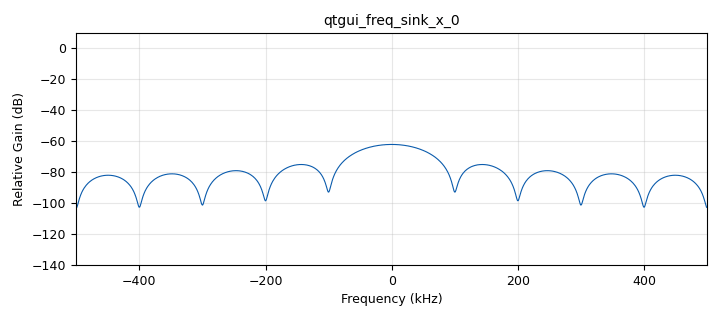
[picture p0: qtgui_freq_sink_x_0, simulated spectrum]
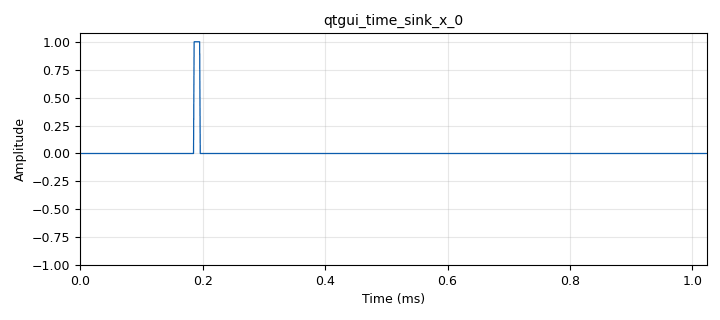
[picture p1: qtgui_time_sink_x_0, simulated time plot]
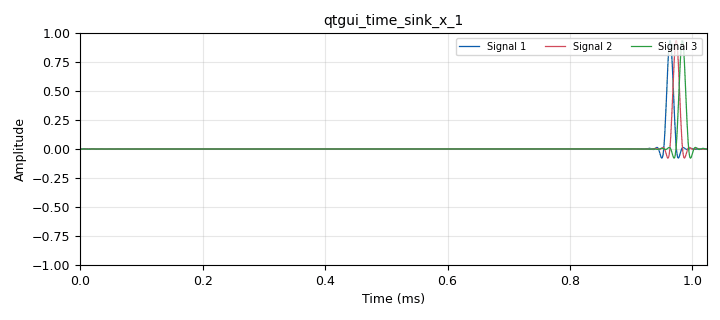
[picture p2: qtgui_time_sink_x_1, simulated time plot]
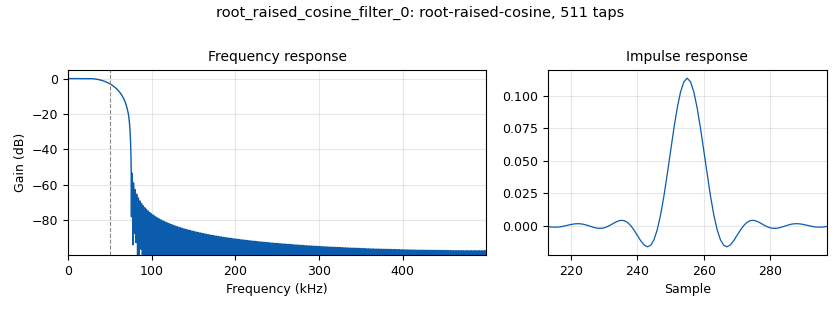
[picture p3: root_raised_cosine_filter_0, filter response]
options:
  parameters:
    generate_options: qt_gui
    id: untitled
    output_language: python
    title: Not titled yet
  states: {}

blocks:
- name: samp_rate
  id: variable
  parameters:
    value: '1000000'
  states: {}
- name: sps
  id: variable
  parameters:
    value: '10'
  states: {}
- name: taps
  id: variable
  parameters:
    value: '511'
  states: {}
- name: blocks_delay_0
  id: blocks_delay
  parameters:
    delay: '506'
    type: float
  states: {}
- name: blocks_delay_1
  id: blocks_delay
  parameters:
    delay: '20'
    type: float
  states: {}
- name: blocks_delay_1_0
  id: blocks_delay
  parameters:
    delay: '10'
    type: float
  states: {}
- name: blocks_throttle_0
  id: blocks_throttle
  parameters:
    samples_per_second: samp_rate
    type: float
  states: {}
- name: blocks_vector_source_x_0
  id: blocks_vector_source_x
  parameters:
    repeat: 'True'
    type: float
    vector: '[1]*sps + [0]*(1024-sps)'
  states: {}
- name: blocks_vector_source_x_0_0
  id: blocks_vector_source_x
  parameters:
    repeat: 'True'
    type: float
    vector: '[1]*sps + [0]*(1024-sps)'
  states: {}
- name: qtgui_freq_sink_x_0
  id: qtgui_freq_sink_x
  parameters:
    bw: samp_rate
    fc: '0'
    fftsize: '1024'
    type: float
  states: {}
- name: qtgui_time_sink_x_0
  id: qtgui_time_sink_x
  parameters:
    size: '1024'
    srate: samp_rate
    type: float
  states: {}
- name: qtgui_time_sink_x_1
  id: qtgui_time_sink_x
  parameters:
    nconnections: '3'
    size: '1024'
    srate: samp_rate
    type: float
  states: {}
- name: root_raised_cosine_filter_0
  id: root_raised_cosine_filter
  parameters:
    alpha: '.5'
    decim: '1'
    gain: '1'
    ntaps: taps
    samp_rate: samp_rate
    sym_rate: '100000'
    type: fir_filter_fff
  states: {}

connections:
- [blocks_delay_0, '0', qtgui_freq_sink_x_0, '0']
- [blocks_delay_0, '0', qtgui_time_sink_x_0, '0']
- [blocks_delay_1, '0', qtgui_time_sink_x_1, '2']
- [blocks_delay_1_0, '0', qtgui_time_sink_x_1, '1']
- [blocks_throttle_0, '0', blocks_delay_0, '0']
- [blocks_vector_source_x_0, '0', blocks_throttle_0, '0']
- [blocks_vector_source_x_0_0, '0', root_raised_cosine_filter_0, '0']
- [root_raised_cosine_filter_0, '0', blocks_delay_1, '0']
- [root_raised_cosine_filter_0, '0', blocks_delay_1_0, '0']
- [root_raised_cosine_filter_0, '0', qtgui_time_sink_x_1, '0']

metadata:
  file_format: 1
  grc_version: 3.10.11.0
